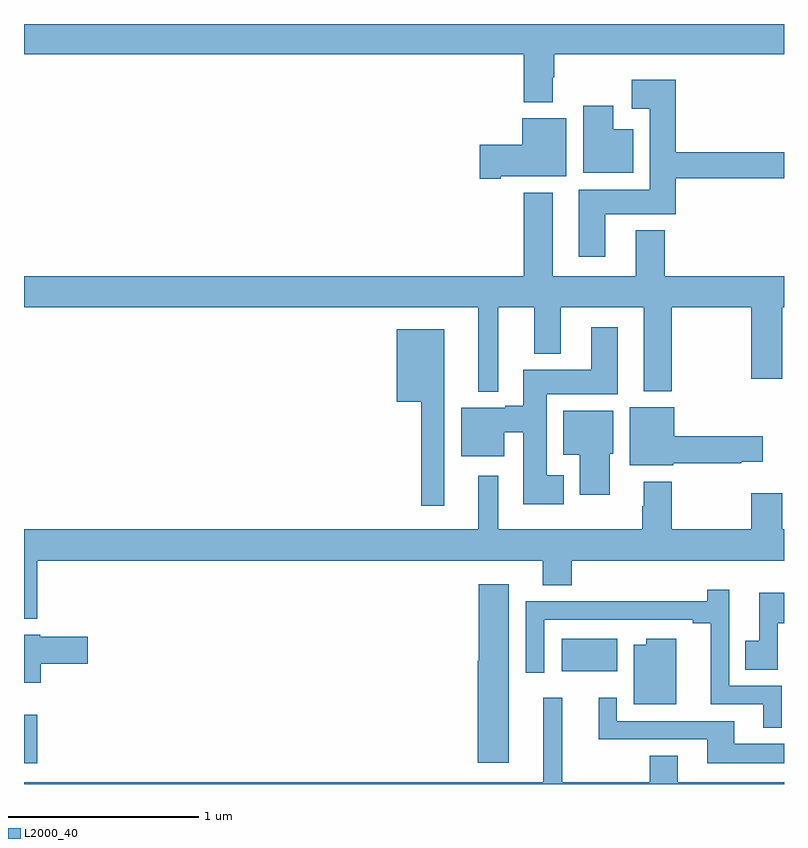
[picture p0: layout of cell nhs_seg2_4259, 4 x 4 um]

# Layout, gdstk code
import gdstk
lib = gdstk.Library(unit=1e-6, precision=1e-09)
def R(c, l, rs):  # rectangles x0, y0, x1, y1
    for r in rs: c.add(gdstk.rectangle(r[:2], r[2:], *l))
def P(c, l, *ps):  # polygons
    for p in ps: c.add(gdstk.Polygon(p, *l))
L2000_40 = (2000, 40)

nhs_seg2_4259 = lib.new_cell('nhs_seg2_4259')
R(nhs_seg2_4259, L2000_40, [(341,639.908,341.071,640.165), (343.829,640.394,344.122,640.564)])
P(nhs_seg2_4259, L2000_40, [(341,643.64),(343.631,643.64),(343.631,643.388),(343.783,643.388),(343.783,643.52),(343.791,643.52),(343.791,643.64),(345,643.64),(345,643.8),(341,643.8)],
  [(344.059,642.8),(344.429,642.8),(344.429,642.988),(345,642.988),(345,643.124),(344.429,643.124),(344.429,643.507),(344.199,643.507),(344.199,643.355),(344.294,643.355),(344.294,642.928),(343.919,642.928),(343.919,642.576),(344.059,642.576)],
  [(344.206,643.246),(344.101,643.246),(344.101,643.369),(343.943,643.369),(343.943,643.016),(344.206,643.016)],
  [(343.51,642.998),(343.855,642.998),(343.855,643.303),(343.622,643.303),(343.622,643.164),(343.398,643.164),(343.398,642.986),(343.51,642.986)],
  [(343.495,642.308),(343.685,642.308),(343.685,642.065),(343.825,642.065),(343.825,642.308),(344.261,642.308),(344.261,641.867),(344.409,641.867),(344.409,642.308),(344.828,642.308),(344.828,641.934),(344.992,641.934),(344.992,642.308),(345,642.308),(345,642.472),(344.372,642.472),(344.372,642.715),(344.219,642.715),(344.219,642.472),(343.783,642.472),(343.783,642.913),(343.631,642.913),(343.631,642.472),(341,642.472),(341,642.308),(343.391,642.308),(343.391,641.864),(343.495,641.864)],
  [(343.84,641.425),(343.75,641.425),(343.75,641.852),(344.125,641.852),(344.125,642.205),(343.985,642.205),(343.985,641.98),(343.628,641.98),(343.628,641.792),(343.532,641.792),(343.532,641.779),(343.301,641.779),(343.301,641.525),(343.528,641.525),(343.528,641.651),(343.628,641.651),(343.628,641.273),(343.84,641.273)],
  [(343.213,642.193),(342.962,642.193),(342.962,641.813),(343.092,641.813),(343.092,641.265),(343.213,641.265)],
  [(344.418,641.488),(344.774,641.488),(344.774,641.495),(344.887,641.495),(344.887,641.63),(344.422,641.63),(344.422,641.782),(344.189,641.782),(344.189,641.477),(344.418,641.477)],
  [(344.083,641.538),(344.101,641.538),(344.101,641.764),(343.838,641.764),(343.838,641.534),(343.925,641.534),(343.925,641.322),(344.083,641.322)],
  [(341.069,640.976),(343.73,640.976),(343.73,640.846),(343.883,640.846),(343.883,640.976),(345,640.976),(345,641.14),(344.992,641.14),(344.992,641.329),(344.828,641.329),(344.828,641.14),(344.409,641.14),(344.409,641.392),(344.261,641.392),(344.261,641.261),(344.254,641.261),(344.254,641.14),(343.495,641.14),(343.495,641.422),(343.391,641.422),(343.391,641.14),(341,641.14),(341,640.67),(341.069,640.67)],
  [(343.552,640.852),(343.394,640.852),(343.394,640.449),(343.388,640.449),(343.388,639.912),(343.552,639.912)],
  [(344.989,640.317),(344.712,640.317),(344.712,640.822),(344.596,640.822),(344.596,640.763),(343.966,640.763),(343.966,640.761),(343.641,640.761),(343.641,640.386),(343.737,640.386),(343.737,640.665),(344.519,640.665),(344.519,640.645),(344.615,640.645),(344.615,640.221),(344.891,640.221),(344.891,640.097),(344.989,640.097)],
  [(344.967,640.646),(345,640.646),(345,640.807),(344.87,640.807),(344.87,640.554),(344.797,640.554),(344.797,640.402),(344.967,640.402)],
  [(341.089,640.433),(341.335,640.433),(341.335,640.575),(341.085,640.575),(341.085,640.585),(341,640.585),(341,640.334),(341.089,640.334)],
  [(344.434,640.564),(344.276,640.564),(344.276,640.534),(344.21,640.534),(344.21,640.22),(344.434,640.22)],
  [(345,639.808),(344.44,639.808),(344.44,639.95),(344.293,639.95),(344.293,639.808),(343.832,639.808),(343.832,640.255),(343.733,640.255),(343.733,639.808),(341,639.808),(341,639.8),(345,639.8)],
  [(345,640.012),(344.737,640.012),(344.737,640.131),(344.121,640.131),(344.121,640.255),(344.024,640.255),(344.024,640.035),(344.597,640.035),(344.597,639.908),(345,639.908)])

lib.write_gds('nhs_seg2_4259.gds')
